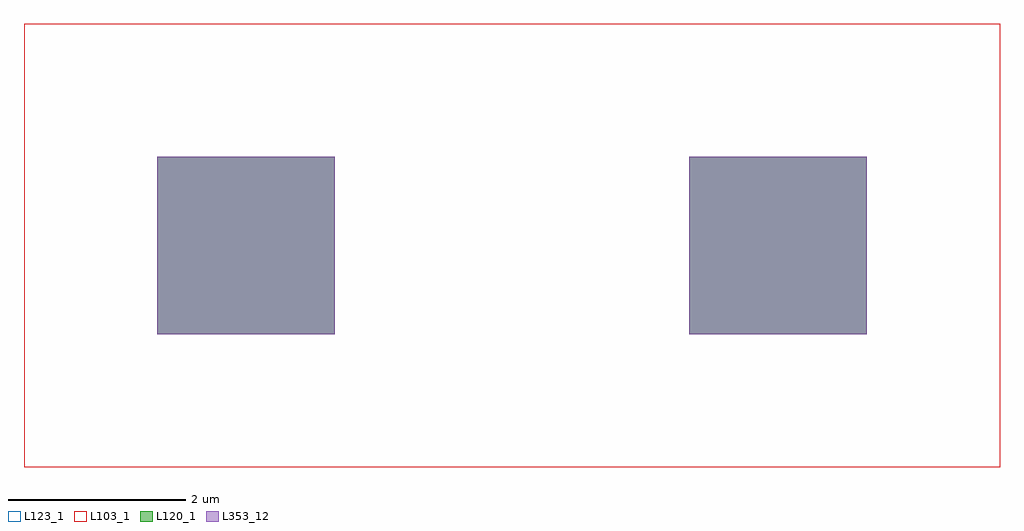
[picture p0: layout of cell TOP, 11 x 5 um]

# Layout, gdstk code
import gdstk
lib = gdstk.Library(unit=1e-6, precision=1e-09)
def R(c, l, rs):  # rectangles x0, y0, x1, y1
    for r in rs: c.add(gdstk.rectangle(r[:2], r[2:], *l))
L103_1 = (103, 1)
L120_1 = (120, 1)
L123_1 = (123, 1)
L353_12 = (353, 12)

top = lib.new_cell('TOP')
R(top, L103_1, [(-1.5,-1.5,9.5,3.5)])
R(top, L120_1, [(0,0,2,2), (6,0,8,2)])
R(top, L123_1, [(-1.5,-1.5,9.5,3.5)])
R(top, L353_12, [(0,0,2,2), (6,0,8,2)])

lib.write_gds('TOP.gds')
